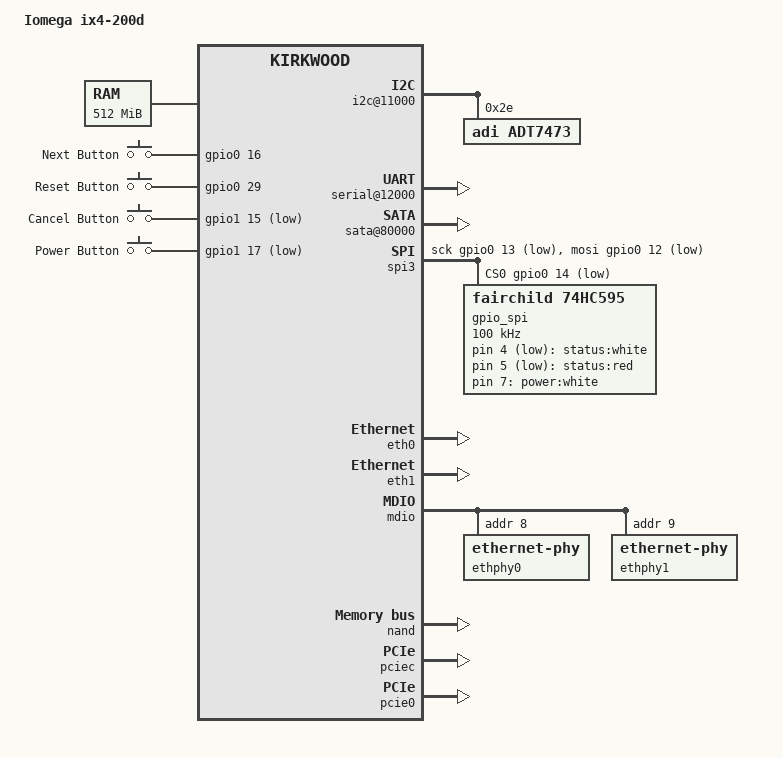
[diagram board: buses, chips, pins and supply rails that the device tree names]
// SPDX-License-Identifier: GPL-2.0-or-later OR MIT
/dts-v1/;

#include "kirkwood.dtsi"
#include "kirkwood-6281.dtsi"

/ {
	model = "Iomega ix4-200d";
	compatible = "iom,ix4-200d", "marvell,kirkwood-88f6281", "marvell,kirkwood";

aliases {
	led-boot = &led_status_white;
	led-failsafe = &led_status_red;
	led-running = &led_power_white;
	led-upgrade = &led_status_red;
};

chosen {
	bootargs = "console=ttyS0,115200n8 earlyprintk";
	stdout-path = &uart0;
};

memory {
	device_type = "memory";
	reg = <0x00000000 0x20000000>;
};

ocp@f1000000 {
	pinctrl: pin-controller@10000 {
		spi_pin1: spi-pin1 {
			marvell,pins = "mpp12";
			marvell,function = "gpio";
		};

		spi_pin2: spi-pin2 {
			marvell,pins = "mpp13";
			marvell,function = "gpio";
		};

		next_button_pin: next-button-pin {
			marvell,pins = "mpp16";
			marvell,function = "gpio";
		};

		reset_button_pin: reset-button-pin {
			marvell,pins = "mpp29";
			marvell,function = "gpio";
		};

		cancel_button_pin: cancel-button-pin {
			marvell,pins = "mpp47";
			marvell,function = "gpio";
		};

		power_button_pin: power-button-pin {
			marvell,pins = "mpp49";
			marvell,function = "gpio";
		};
	};

	i2c@11000 {
		status = "okay";

		adt7473@2e {
			compatible = "adi,adt7473";
			reg = <0x2e>;
			};
	};

	serial@12000 {
		status = "okay";
	};

	sata@80000 {
		status = "okay";
		nr-ports = <2>;
	};

	spi3 {
		compatible = "spi-gpio";
		#address-cells = <0x1>;
		ranges;
		status = "okay";
		sck-gpios = <&gpio0 13 GPIO_ACTIVE_LOW>;
		mosi-gpios = <&gpio0 12 GPIO_ACTIVE_LOW>;
		cs-gpios = <&gpio0 14 GPIO_ACTIVE_LOW>;
		num-chipselects = <1>;
		#size-cells = <0>;

		gpio_spi: gpio_spi@0 {
			compatible = "fairchild,74hc595";
			reg = <0>;
			gpio-controller;
			#gpio-cells = <2>;
			registers-number = <1>;
			spi-max-frequency = <100000>;
		};
	};

	gpio-leds {
		compatible = "gpio-leds";
		pinctrl-0 = <&led_status_white &led_status_red &led_power_white>;
		pinctrl-names = "default";

		led_status_white {
			label = "status:white";
			gpios = <&gpio_spi 4 GPIO_ACTIVE_LOW>;
		};

		led_status_red {
			label = "status:red";
			gpios = <&gpio_spi 5 GPIO_ACTIVE_LOW>;
		};

		led_power_white {
			label = "power:white";
			gpios = <&gpio_spi 7 GPIO_ACTIVE_HIGH>;
		};
	};

	gpio-keys {
		compatible = "gpio-keys";
		pinctrl-0 = <&next_button_pin &reset_button_pin &cancel_button_pin &power_button_pin>;
		pinctrl-names = "default";

		next-button {
			label = "Next Button";
			linux,code = <BTN_0>;
			gpios = <&gpio0 16 GPIO_ACTIVE_HIGH>;
		};

		reset-button {
			label = "Reset Button";
			linux,code = <KEY_RESTART>;
			gpios = <&gpio0 29 GPIO_ACTIVE_HIGH>;
		};

		cancel-button {
			label = "Cancel Button";
			linux,code = <BTN_1>;
			gpios = <&gpio1 15 GPIO_ACTIVE_LOW>;
		};

		power-button {
			label = "Power Button";
			linux,code = <KEY_POWER2>;
			gpios = <&gpio1 17 GPIO_ACTIVE_LOW>;
		};
	};
};
};

&eth0 {
	status = "okay";
	ethernet0-port@0 {
		phy-handle = <&ethphy0>;
	};
};

&eth1 {
	status = "okay";
	ethernet1-port@0 {
		phy-handle = <&ethphy1>;
	};
};

&mdio {
	status = "okay";

	ethphy0: ethernet-phy@8 {
		reg = <8>;
	};

	ethphy1: ethernet-phy@9 {
		reg = <9>;
	};
};

&nand {
	status = "okay";

	partitions {
		compatible = "fixed-partitions";
		#address-cells = <1>;
		#size-cells = <1>;
	
		partition@0 {
			label = "u-boot";
			reg = <0x0000000 0x100000>;
			read-only;
		};

		partition@a0000 {
			label = "u-boot environment";
			reg = <0xa0000 0x20000>;
			read-only;
		};
 
		partition@100000 {
			label = "kernel";
			reg = <0x100000 0x300000>;
		};
 
		partition@400000 {
			label = "ubi";
			reg = <0x400000 0x1C00000>;
		};
	};
};

&pciec {
	status = "okay";
};

&pcie0 {
	status = "okay";
};
